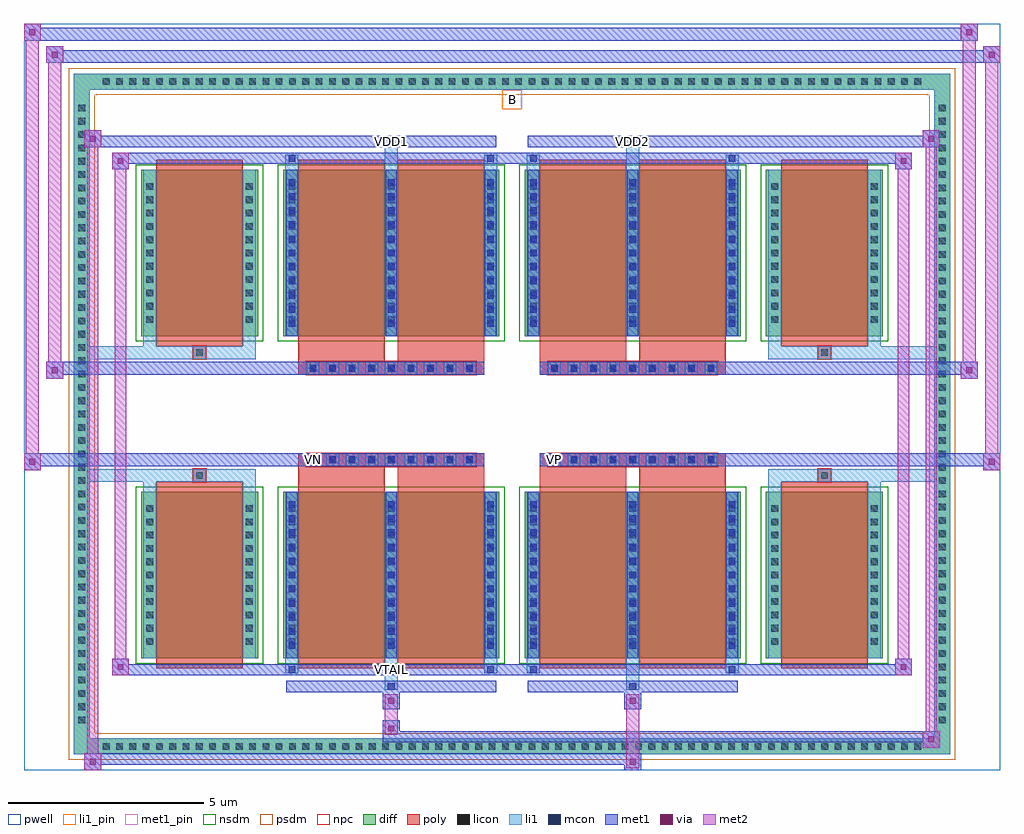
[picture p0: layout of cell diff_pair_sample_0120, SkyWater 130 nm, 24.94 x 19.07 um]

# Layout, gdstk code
import gdstk
lib = gdstk.Library(unit=1e-6, precision=5e-09)
def R(c, l, rs):  # rectangles x0, y0, x1, y1
    for r in rs: c.add(gdstk.rectangle(r[:2], r[2:], *l))
def A(c, l, x, y, w, h, nx, ny, dx, dy):  # array of equal rectangles
    R(c, l, [(x+i*dx, y+j*dy, x+i*dx+w, y+j*dy+h) for i in range(nx) for j in range(ny)])
def P(c, l, *ps):  # polygons
    for p in ps: c.add(gdstk.Polygon(p, *l))
pwell = (64, 44)
diff = (65, 20)
poly = (66, 20)
licon = (66, 44)
li1_pin = (67, 16)
li1 = (67, 20)
mcon = (67, 44)
met1_pin = (68, 16)
met1 = (68, 20)
via = (68, 44)
met2 = (69, 20)
nsdm = (93, 44)
psdm = (94, 20)
npc = (95, 20)

diff_pair_sample_0120 = lib.new_cell('diff_pair_sample_0120')
R(diff_pair_sample_0120, pwell, [(-12.47,-9.1,12.47,9.97), (-9.79,-7.29,-0.01,-0.805), (0.01,-7.29,9.79,-0.805), (-9.79,0.805,-0.01,7.29), (0.01,0.805,9.79,7.29)])
A(diff_pair_sample_0120, diff, -10.575, -8.7, 0.41, 0.41, 62, 2, 0.34, 16.99)
A(diff_pair_sample_0120, diff, -11.2, -8.025, 0.41, 0.41, 1, 47, 0, 0.34)
A(diff_pair_sample_0120, diff, 10.79, -8.025, 0.41, 0.41, 1, 47, 0, 0.34)
R(diff_pair_sample_0120, diff, [(-10.575,-8.7,10.575,-8.29), (-11.2,-8.025,-10.79,8.025), (10.79,-8.025,11.2,8.025), (-9.48,-6.245,-6.49,-1.985), (-5.85,-6.245,-0.32,-1.985), (0.32,-6.245,5.85,-1.985), (6.49,-6.245,9.48,-1.985), (-9.48,1.985,-6.49,6.245), (-5.85,1.985,-0.32,6.245), (0.32,1.985,5.85,6.245), (6.49,1.985,9.48,6.245), (-10.575,8.29,10.575,8.7)])
P(diff_pair_sample_0120, diff, [(11.2,8.7),(-11.2,8.7),(-11.2,-8.29),(-10.79,-8.29),(-10.79,8.29),(10.79,8.29),(10.79,-8.29),(-10.79,-8.29),(-11.2,-8.29),(-11.2,-8.7),(11.2,-8.7)])
A(diff_pair_sample_0120, poly, -5.25, -1.335, 0.33, 0.33, 9, 2, 0.5, 2.34)
A(diff_pair_sample_0120, poly, 0.92, -1.335, 0.33, 0.33, 9, 2, 0.5, 2.34)
R(diff_pair_sample_0120, poly, [(-9.09,-6.495,-6.88,-1.735), (-5.46,-6.495,-3.25,-1.735), (-2.92,-6.495,-0.71,-1.735), (0.71,-6.495,2.92,-1.735), (3.25,-6.495,5.46,-1.735), (6.88,-6.495,9.09,-1.735), (-8.15,-1.735,-7.82,-1.405), (-8.15,-1.735,-7.82,-1.405), (-5.46,-1.735,-3.25,-1.335), (-2.92,-1.735,-0.71,-1.335), (0.71,-1.735,2.92,-1.335), (3.25,-1.735,5.46,-1.335), (7.82,-1.735,8.15,-1.405), (7.82,-1.735,8.15,-1.405), (-5.46,-1.335,-0.71,-1.005), (0.71,-1.335,5.46,-1.005), (-5.46,1.005,-0.71,1.335), (0.71,1.005,5.46,1.335), (-5.46,1.335,-3.25,1.735), (-2.92,1.335,-0.71,1.735), (0.71,1.335,2.92,1.735), (3.25,1.335,5.46,1.735), (-8.15,1.405,-7.82,1.735), (-8.15,1.405,-7.82,1.735), (7.82,1.405,8.15,1.735), (7.82,1.405,8.15,1.735), (-9.09,1.735,-6.88,6.495), (-5.46,1.735,-3.25,6.495), (-2.92,1.735,-0.71,6.495), (0.71,1.735,2.92,6.495), (3.25,1.735,5.46,6.495), (6.88,1.735,9.09,6.495)])
A(diff_pair_sample_0120, licon, -10.455, -8.58, 0.17, 0.17, 62, 2, 0.34, 16.99)
A(diff_pair_sample_0120, licon, -11.08, -7.905, 0.17, 0.17, 1, 47, 0, 0.34)
A(diff_pair_sample_0120, licon, 10.91, -7.905, 0.17, 0.17, 1, 47, 0, 0.34)
A(diff_pair_sample_0120, licon, -9.34, -5.9, 0.17, 0.17, 1, 11, 0, 0.34)
A(diff_pair_sample_0120, licon, -6.8, -5.9, 0.17, 0.17, 1, 11, 0, 0.34)
A(diff_pair_sample_0120, licon, -5.71, -5.9, 0.17, 0.17, 3, 11, 2.54, 0.34)
A(diff_pair_sample_0120, licon, 0.46, -5.9, 0.17, 0.17, 3, 11, 2.54, 0.34)
A(diff_pair_sample_0120, licon, 6.63, -5.9, 0.17, 0.17, 1, 11, 0, 0.34)
A(diff_pair_sample_0120, licon, 9.17, -5.9, 0.17, 0.17, 1, 11, 0, 0.34)
A(diff_pair_sample_0120, licon, -5.17, -1.255, 0.17, 0.17, 9, 2, 0.5, 2.34)
A(diff_pair_sample_0120, licon, 1, -1.255, 0.17, 0.17, 9, 2, 0.5, 2.34)
A(diff_pair_sample_0120, licon, -9.34, 2.33, 0.17, 0.17, 1, 11, 0, 0.34)
A(diff_pair_sample_0120, licon, -6.8, 2.33, 0.17, 0.17, 1, 11, 0, 0.34)
A(diff_pair_sample_0120, licon, -5.71, 2.33, 0.17, 0.17, 3, 11, 2.54, 0.34)
A(diff_pair_sample_0120, licon, 0.46, 2.33, 0.17, 0.17, 3, 11, 2.54, 0.34)
A(diff_pair_sample_0120, licon, 6.63, 2.33, 0.17, 0.17, 1, 11, 0, 0.34)
A(diff_pair_sample_0120, licon, 9.17, 2.33, 0.17, 0.17, 1, 11, 0, 0.34)
R(diff_pair_sample_0120, licon, [(-8.07,-1.655,-7.9,-1.485), (7.9,-1.655,8.07,-1.485), (-8.07,1.485,-7.9,1.655), (7.9,1.485,8.07,1.655)])
R(diff_pair_sample_0120, li1_pin, [(-0.25,7.79,0.25,8.29)])
A(diff_pair_sample_0120, li1, -10.535, -8.66, 0.33, 0.33, 62, 2, 0.34, 16.99)
A(diff_pair_sample_0120, li1, -11.16, -7.985, 0.33, 0.33, 1, 47, 0, 0.34)
A(diff_pair_sample_0120, li1, 10.83, -7.985, 0.33, 0.33, 1, 47, 0, 0.34)
A(diff_pair_sample_0120, li1, -5.79, -6.245, 0.33, 4.26, 3, 2, 2.54, 8.23)
A(diff_pair_sample_0120, li1, 0.38, -6.245, 0.33, 4.26, 3, 2, 2.54, 8.23)
A(diff_pair_sample_0120, li1, -5.71, -6, 0.17, 0.17, 3, 11, 2.54, 0.36)
A(diff_pair_sample_0120, li1, -5.71, -6, 0.17, 3.77, 3, 2, 2.54, 8.23)
A(diff_pair_sample_0120, li1, 0.46, -6, 0.17, 0.17, 3, 11, 2.54, 0.36)
A(diff_pair_sample_0120, li1, 0.46, -6, 0.17, 3.77, 3, 2, 2.54, 8.23)
A(diff_pair_sample_0120, li1, -9.42, -5.98, 0.33, 0.33, 1, 11, 0, 0.34)
A(diff_pair_sample_0120, li1, -6.88, -5.98, 0.33, 0.33, 1, 11, 0, 0.34)
A(diff_pair_sample_0120, li1, -5.79, -5.98, 0.33, 0.33, 3, 11, 2.54, 0.34)
A(diff_pair_sample_0120, li1, 0.38, -5.98, 0.33, 0.33, 3, 11, 2.54, 0.34)
A(diff_pair_sample_0120, li1, 6.55, -5.98, 0.33, 0.33, 1, 11, 0, 0.34)
A(diff_pair_sample_0120, li1, 9.09, -5.98, 0.33, 0.33, 1, 11, 0, 0.34)
A(diff_pair_sample_0120, li1, -5.25, -1.335, 0.33, 0.33, 9, 2, 0.5, 2.34)
A(diff_pair_sample_0120, li1, 0.92, -1.335, 0.33, 0.33, 9, 2, 0.5, 2.34)
A(diff_pair_sample_0120, li1, -5.71, 2.23, 0.17, 0.17, 3, 11, 2.54, 0.36)
A(diff_pair_sample_0120, li1, 0.46, 2.23, 0.17, 0.17, 3, 11, 2.54, 0.36)
A(diff_pair_sample_0120, li1, -9.42, 2.25, 0.33, 0.33, 1, 11, 0, 0.34)
A(diff_pair_sample_0120, li1, -6.88, 2.25, 0.33, 0.33, 1, 11, 0, 0.34)
A(diff_pair_sample_0120, li1, -5.79, 2.25, 0.33, 0.33, 3, 11, 2.54, 0.34)
A(diff_pair_sample_0120, li1, 0.38, 2.25, 0.33, 0.33, 3, 11, 2.54, 0.34)
A(diff_pair_sample_0120, li1, 6.55, 2.25, 0.33, 0.33, 1, 11, 0, 0.34)
A(diff_pair_sample_0120, li1, 9.09, 2.25, 0.33, 0.33, 1, 11, 0, 0.34)
R(diff_pair_sample_0120, li1, [(-11.2,-8.7,-10.79,-8.29), (-11.2,-8.7,-10.79,-8.29), (-10.79,-8.7,10.79,-8.29), (10.79,-8.7,11.2,-8.29), (10.79,-8.7,11.2,-8.29), (-11.2,-8.29,-10.79,8.29), (10.79,-8.29,11.2,8.29), (-3.25,-7.05,-2.92,-6.245), (-3.17,-7.05,-3,-6.88), (2.92,-7.05,3.25,-6.245), (3,-7.05,3.17,-6.88), (-5.79,-6.62,-5.46,-6.245), (-5.71,-6.62,-5.54,-6.45), (-0.71,-6.62,-0.38,-6.245), (-0.63,-6.62,-0.46,-6.45), (0.38,-6.62,0.71,-6.245), (0.46,-6.62,0.63,-6.45), (5.46,-6.62,5.79,-6.245), (5.54,-6.62,5.71,-6.45), (-9.42,-6.245,-9.09,-1.985), (-6.88,-6.245,-6.55,-1.985), (6.55,-6.245,6.88,-1.985), (9.09,-6.245,9.42,-1.985), (-9.42,-1.985,-9.09,-1.405), (-6.88,-1.985,-6.55,-1.405), (6.55,-1.985,6.88,-1.405), (9.09,-1.985,9.42,-1.405), (-11.2,-1.735,-8.15,-1.405), (-9.42,-1.735,-8.15,-1.405), (-8.15,-1.735,-7.82,-1.405), (-7.82,-1.735,-6.55,-1.405), (6.55,-1.735,7.82,-1.405), (7.82,-1.735,8.15,-1.405), (7.82,-1.735,11.2,-1.405), (8.15,-1.735,9.42,-1.405), (-11.2,1.405,-8.15,1.735), (-9.42,1.405,-8.15,1.735), (-9.42,1.405,-9.09,1.985), (-8.15,1.405,-7.82,1.735), (-7.82,1.405,-6.55,1.735), (-6.88,1.405,-6.55,1.985), (6.55,1.405,7.82,1.735), (6.55,1.405,6.88,1.985), (7.82,1.405,8.15,1.735), (7.82,1.405,11.2,1.735), (8.15,1.405,9.42,1.735), (9.09,1.405,9.42,1.985), (-9.42,1.985,-9.09,6.245), (-6.88,1.985,-6.55,6.245), (6.55,1.985,6.88,6.245), (9.09,1.985,9.42,6.245), (-5.79,6.245,-5.46,6.62), (-3.25,6.245,-2.92,7.05), (-0.71,6.245,-0.38,6.62), (0.38,6.245,0.71,6.62), (2.92,6.245,3.25,7.05), (5.46,6.245,5.79,6.62), (-5.71,6.45,-5.54,6.62), (-0.63,6.45,-0.46,6.62), (0.46,6.45,0.63,6.62), (5.54,6.45,5.71,6.62), (-3.17,6.88,-3,7.05), (3,6.88,3.17,7.05), (-11.2,8.29,-10.79,8.7), (-11.2,8.29,-10.79,8.7), (-10.79,8.29,10.79,8.7), (10.79,8.29,11.2,8.7), (10.79,8.29,11.2,8.7)])
A(diff_pair_sample_0120, mcon, -5.71, -6, 0.17, 0.17, 3, 11, 2.54, 0.36)
A(diff_pair_sample_0120, mcon, 0.46, -6, 0.17, 0.17, 3, 11, 2.54, 0.36)
A(diff_pair_sample_0120, mcon, -5.17, -1.255, 0.17, 0.17, 9, 2, 0.5, 2.34)
A(diff_pair_sample_0120, mcon, 1, -1.255, 0.17, 0.17, 9, 2, 0.5, 2.34)
A(diff_pair_sample_0120, mcon, -5.71, 2.23, 0.17, 0.17, 3, 11, 2.54, 0.36)
A(diff_pair_sample_0120, mcon, 0.46, 2.23, 0.17, 0.17, 3, 11, 2.54, 0.36)
R(diff_pair_sample_0120, mcon, [(-3.17,-7.05,-3,-6.88), (3,-7.05,3.17,-6.88), (-5.71,-6.62,-5.54,-6.45), (-0.63,-6.62,-0.46,-6.45), (0.46,-6.62,0.63,-6.45), (5.54,-6.62,5.71,-6.45), (-5.71,6.45,-5.54,6.62), (-0.63,6.45,-0.46,6.62), (0.46,6.45,0.63,6.62), (5.54,6.45,5.71,6.62), (-3.17,6.88,-3,7.05), (3,6.88,3.17,7.05)])
R(diff_pair_sample_0120, met1_pin, [(-3.22,-6.66,-2.95,-6.39), (-5.22,-1.295,-4.95,-1.025), (0.95,-1.295,1.22,-1.025), (-3.22,6.84,-2.95,7.11), (2.95,6.84,3.22,7.11)])
A(diff_pair_sample_0120, met1, -5.77, -6.245, 0.29, 4.26, 3, 2, 2.54, 8.23)
A(diff_pair_sample_0120, met1, 0.4, -6.245, 0.29, 4.26, 3, 2, 2.54, 8.23)
A(diff_pair_sample_0120, met1, -5.77, -6.06, 0.29, 0.29, 3, 11, 2.54, 0.36)
A(diff_pair_sample_0120, met1, 0.4, -6.06, 0.29, 0.29, 3, 11, 2.54, 0.36)
A(diff_pair_sample_0120, met1, -5.23, -1.315, 0.29, 0.29, 9, 2, 0.5, 2.34)
A(diff_pair_sample_0120, met1, 0.94, -1.315, 0.29, 0.29, 9, 2, 0.5, 2.34)
A(diff_pair_sample_0120, met1, -5.77, 2.17, 0.29, 0.29, 3, 11, 2.54, 0.36)
A(diff_pair_sample_0120, met1, 0.4, 2.17, 0.29, 0.29, 3, 11, 2.54, 0.36)
R(diff_pair_sample_0120, met1, [(-10.93,-9.1,-10.5,-8.67), (2.87,-9.1,3.3,-8.67), (-10.93,-8.96,3.3,-8.67), (10.5,-8.53,10.93,-8.1), (-3.3,-8.39,10.93,-8.1), (-3.3,-8.25,-2.87,-7.82), (-3.3,-7.54,-2.87,-7.11), (2.87,-7.54,3.3,-7.11), (-5.77,-7.11,-0.4,-6.82), (-3.23,-7.11,-2.94,-6.82), (0.4,-7.11,5.77,-6.82), (2.94,-7.11,3.23,-6.82), (-10.22,-6.68,-9.79,-6.25), (-10.22,-6.68,-5.77,-6.39), (-5.77,-6.68,-5.48,-6.39), (-5.77,-6.68,-0.4,-6.39), (-0.69,-6.68,-0.4,-6.39), (-0.4,-6.68,0.4,-6.39), (0.4,-6.68,0.69,-6.39), (0.4,-6.68,5.77,-6.39), (5.48,-6.68,5.77,-6.39), (5.77,-6.68,10.22,-6.39), (9.79,-6.68,10.22,-6.25), (-12.47,-1.435,-12.04,-1.005), (12.04,-1.435,12.47,-1.005), (-12.47,-1.335,-0.71,-1.005), (-5.46,-1.335,-0.71,-1.005), (0.71,-1.335,5.46,-1.005), (0.71,-1.335,12.47,-1.005), (-11.9,0.905,-11.47,1.335), (11.47,0.905,11.9,1.335), (-11.9,1.005,-5.46,1.335), (-5.46,1.005,-0.71,1.335), (0.71,1.005,5.46,1.335), (5.46,1.005,11.9,1.335), (-10.22,6.25,-9.79,6.68), (9.79,6.25,10.22,6.68), (-10.22,6.39,-5.77,6.68), (-5.77,6.39,-5.48,6.68), (-5.77,6.39,-0.4,6.68), (-0.69,6.39,-0.4,6.68), (-0.4,6.39,0.4,6.68), (0.4,6.39,0.69,6.68), (0.4,6.39,5.77,6.68), (5.48,6.39,5.77,6.68), (5.77,6.39,10.22,6.68), (-10.93,6.82,-10.5,7.25), (-10.93,6.82,-5.77,7.11), (-5.77,6.82,-0.4,7.11), (-3.23,6.82,-2.94,7.11), (0.4,6.82,5.77,7.11), (2.94,6.82,3.23,7.11), (5.77,6.82,10.93,7.11), (10.5,6.82,10.93,7.25), (-11.9,8.97,-11.47,9.4), (-11.9,8.97,-9.79,9.3), (-9.79,8.97,9.79,9.3), (9.79,8.97,12.47,9.3), (12.04,8.97,12.47,9.4), (-12.47,9.54,-12.04,9.97), (-12.47,9.54,-9.79,9.87), (-9.79,9.54,9.79,9.87), (9.79,9.54,11.9,9.87), (11.47,9.54,11.9,9.97)])
R(diff_pair_sample_0120, via, [(-10.79,-8.96,-10.64,-8.81), (3.01,-8.96,3.16,-8.81), (10.64,-8.39,10.79,-8.24), (-3.16,-8.11,-3.01,-7.96), (-3.16,-7.4,-3.01,-7.25), (3.01,-7.4,3.16,-7.25), (-10.08,-6.54,-9.93,-6.39), (9.93,-6.54,10.08,-6.39), (-12.33,-1.295,-12.18,-1.145), (12.18,-1.295,12.33,-1.145), (-11.76,1.045,-11.61,1.195), (11.61,1.045,11.76,1.195), (-10.08,6.39,-9.93,6.54), (9.93,6.39,10.08,6.54), (-10.79,6.96,-10.64,7.11), (10.64,6.96,10.79,7.11), (-11.76,9.11,-11.61,9.26), (12.18,9.11,12.33,9.26), (-12.33,9.68,-12.18,9.83), (11.61,9.68,11.76,9.83)])
R(diff_pair_sample_0120, met2, [(-10.93,-9.1,-10.5,-8.67), (-10.86,-9.1,-10.57,7.25), (-10.57,-9.1,-10.5,-8.67), (-10.88,-9.05,-10.55,-8.72), (2.92,-9.05,3.25,-8.72), (2.92,-8.72,3.25,-7.49), (10.5,-8.53,10.93,-8.1), (10.57,-8.53,10.86,7.25), (10.86,-8.53,10.93,-8.1), (10.55,-8.48,10.88,-8.15), (-3.25,-8.2,-2.92,-7.87), (-3.25,-7.87,-2.92,-7.49), (-3.25,-7.49,-2.92,-7.16), (2.92,-7.49,3.25,-7.16), (-10.22,-6.68,-9.79,-6.25), (-10.15,-6.68,-9.86,6.68), (-9.86,-6.68,-9.79,-6.25), (9.79,-6.68,10.22,-6.25), (9.86,-6.68,10.15,6.68), (10.15,-6.68,10.22,-6.25), (-10.17,-6.63,-9.84,-6.3), (9.84,-6.63,10.17,-6.3), (-12.47,-1.435,-12.04,-1.005), (-12.42,-1.435,-12.09,9.97), (-12.09,-1.435,-12.04,-1.005), (12.04,-1.435,12.47,-1.005), (12.09,-1.435,12.42,9.4), (12.42,-1.435,12.47,-1.005), (-12.42,-1.385,-12.09,-1.055), (12.09,-1.385,12.42,-1.055), (-11.9,0.905,-11.47,1.335), (-11.85,0.905,-11.52,9.4), (-11.52,0.905,-11.47,1.335), (11.47,0.905,11.9,1.335), (11.52,0.905,11.85,9.97), (11.85,0.905,11.9,1.335), (-11.85,0.955,-11.52,1.285), (11.52,0.955,11.85,1.285), (-10.22,6.25,-9.79,6.68), (-9.86,6.25,-9.79,6.68), (9.79,6.25,10.22,6.68), (10.15,6.25,10.22,6.68), (-10.17,6.3,-9.84,6.63), (9.84,6.3,10.17,6.63), (-10.93,6.82,-10.5,7.25), (-10.57,6.82,-10.5,7.25), (10.5,6.82,10.93,7.25), (10.86,6.82,10.93,7.25), (-10.88,6.87,-10.55,7.2), (10.55,6.87,10.88,7.2), (-11.9,8.97,-11.47,9.4), (-11.52,8.97,-11.47,9.4), (12.04,8.97,12.47,9.4), (12.42,8.97,12.47,9.4), (-11.85,9.02,-11.52,9.35), (12.09,9.02,12.42,9.35), (-12.47,9.54,-12.04,9.97), (-12.09,9.54,-12.04,9.97), (11.47,9.54,11.9,9.97), (11.85,9.54,11.9,9.97), (-12.42,9.59,-12.09,9.92), (11.52,9.59,11.85,9.92)])
R(diff_pair_sample_0120, nsdm, [(-9.61,-6.375,-6.36,-1.855), (-5.98,-6.375,-0.19,-1.855), (0.19,-6.375,5.98,-1.855), (6.36,-6.375,9.61,-1.855), (-9.61,1.855,-6.36,6.375), (-5.98,1.855,-0.19,6.375), (0.19,1.855,5.98,6.375), (6.36,1.855,9.61,6.375)])
P(diff_pair_sample_0120, psdm, [(11.33,8.83),(-11.33,8.83),(-11.33,-8.16),(-10.66,-8.16),(-10.66,8.16),(10.66,8.16),(10.66,-8.16),(-10.66,-8.16),(-11.33,-8.16),(-11.33,-8.83),(11.33,-8.83)])
A(diff_pair_sample_0120, npc, -5.27, -1.355, 0.37, 0.37, 9, 2, 0.5, 2.34)
A(diff_pair_sample_0120, npc, 0.9, -1.355, 0.37, 0.37, 9, 2, 0.5, 2.34)
R(diff_pair_sample_0120, npc, [(-8.17,-1.755,-7.8,-1.385), (7.8,-1.755,8.17,-1.385), (-5.27,-1.355,-4.4,-0.985), (-5.27,-1.355,-4.4,-0.985), (-4.77,-1.355,-3.9,-0.985), (-4.77,-1.355,-3.9,-0.985), (-4.27,-1.355,-3.4,-0.985), (-4.27,-1.355,-3.4,-0.985), (-3.77,-1.355,-2.9,-0.985), (-3.77,-1.355,-2.9,-0.985), (-3.27,-1.355,-2.4,-0.985), (-3.27,-1.355,-2.4,-0.985), (-2.77,-1.355,-1.9,-0.985), (-2.77,-1.355,-1.9,-0.985), (-2.27,-1.355,-1.4,-0.985), (-2.27,-1.355,-1.4,-0.985), (-1.77,-1.355,-0.9,-0.985), (-1.77,-1.355,-0.9,-0.985), (0.9,-1.355,1.77,-0.985), (0.9,-1.355,1.77,-0.985), (1.4,-1.355,2.27,-0.985), (1.4,-1.355,2.27,-0.985), (1.9,-1.355,2.77,-0.985), (1.9,-1.355,2.77,-0.985), (2.4,-1.355,3.27,-0.985), (2.4,-1.355,3.27,-0.985), (2.9,-1.355,3.77,-0.985), (2.9,-1.355,3.77,-0.985), (3.4,-1.355,4.27,-0.985), (3.4,-1.355,4.27,-0.985), (3.9,-1.355,4.77,-0.985), (3.9,-1.355,4.77,-0.985), (4.4,-1.355,5.27,-0.985), (4.4,-1.355,5.27,-0.985), (-5.27,0.985,-4.4,1.355), (-5.27,0.985,-4.4,1.355), (-4.77,0.985,-3.9,1.355), (-4.77,0.985,-3.9,1.355), (-4.27,0.985,-3.4,1.355), (-4.27,0.985,-3.4,1.355), (-3.77,0.985,-2.9,1.355), (-3.77,0.985,-2.9,1.355), (-3.27,0.985,-2.4,1.355), (-3.27,0.985,-2.4,1.355), (-2.77,0.985,-1.9,1.355), (-2.77,0.985,-1.9,1.355), (-2.27,0.985,-1.4,1.355), (-2.27,0.985,-1.4,1.355), (-1.77,0.985,-0.9,1.355), (-1.77,0.985,-0.9,1.355), (0.9,0.985,1.77,1.355), (0.9,0.985,1.77,1.355), (1.4,0.985,2.27,1.355), (1.4,0.985,2.27,1.355), (1.9,0.985,2.77,1.355), (1.9,0.985,2.77,1.355), (2.4,0.985,3.27,1.355), (2.4,0.985,3.27,1.355), (2.9,0.985,3.77,1.355), (2.9,0.985,3.77,1.355), (3.4,0.985,4.27,1.355), (3.4,0.985,4.27,1.355), (3.9,0.985,4.77,1.355), (3.9,0.985,4.77,1.355), (4.4,0.985,5.27,1.355), (4.4,0.985,5.27,1.355), (-8.17,1.385,-7.8,1.755), (7.8,1.385,8.17,1.755)])
diff_pair_sample_0120.add(gdstk.Label('VTAIL', (-3.085,-6.525), layer=68, texttype=5))
diff_pair_sample_0120.add(gdstk.Label('VN', (-5.085,-1.16), layer=68, texttype=5))
diff_pair_sample_0120.add(gdstk.Label('VP', (1.085,-1.16), layer=68, texttype=5))
diff_pair_sample_0120.add(gdstk.Label('B', (0,8.04), layer=67, texttype=5))
diff_pair_sample_0120.add(gdstk.Label('VDD2', (3.085,6.975), layer=68, texttype=5))
diff_pair_sample_0120.add(gdstk.Label('VDD1', (-3.085,6.975), layer=68, texttype=5))

lib.write_gds('diff_pair_sample_0120.gds')
